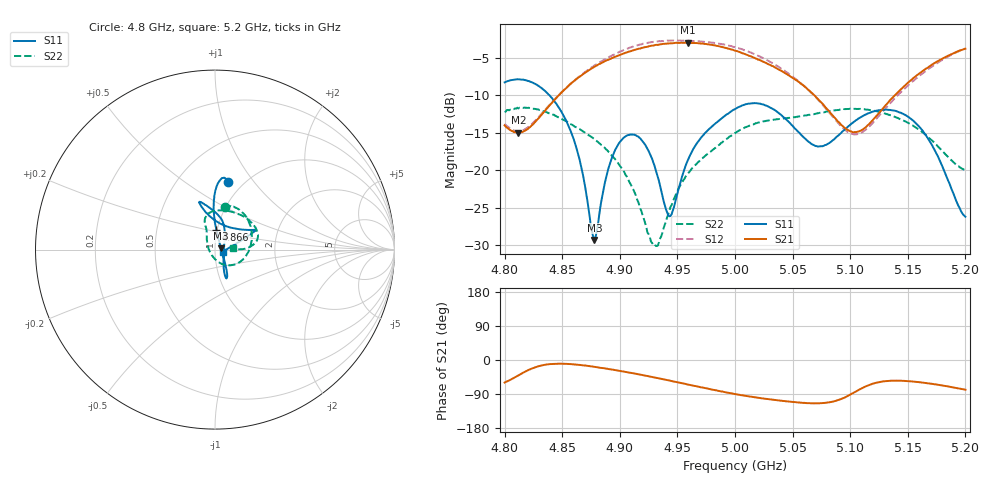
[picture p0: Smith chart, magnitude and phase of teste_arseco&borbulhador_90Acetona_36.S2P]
! Network Analyzer HP8722D
! Hewlett-Packard
! Data name: Linha & Wilkinson
! Saver's name: Rodrigo Anjos
! Comments: Teste da utilização de aquisição
! continua pelo VNA HP8722D
! Time and date: 17/4/2025 11:21
!  Frequency  S11  S21  S12  S22
# HZ  S  MA R 50
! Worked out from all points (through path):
!   401 points, 4.8 GHz to 5.2 GHz, reference 50 ohm
!   highest |S21| = -3.01 dB at 4.959 GHz (marker M1); lowest = -15.0 dB at 4.812 GHz (marker M2)
!   lowest |S11| = -29.3 dB at 4.878 GHz (marker M3), VSWR 1.07, Z = 53.5 + j0.792 ohm
!   |S11| at or under -10 dB: 4.839 GHz to end of sweep
!   |S22| runs from -30.1 to -11.7 dB; largest |S21 - S12| = 1.4
!   S11 on the Smith chart (normalised r, x): 4.8 GHz: 0.85, +0.75; 4.866 GHz: 0.99, +0.22; 5.2 GHz: 1.10, -0.03
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4.8e9  0.3849 79.1  0.1993 -59.6  0.2038 75.6  0.2438 77.2
4.812e9  0.4036 82.8  0.1777 -40.7  0.1822 92.8  0.258 67.1
4.844e9  0.2826 91.0  0.2983 -10.0  0.2996 122.9  0.2305 28.5
4.857e9  0.1853 91.4  0.3746 -10.6  0.375 124.0  0.2034 9.6
4.866e9  0.1097 86.0  0.4244 -13.4  0.4278 123.1  0.186 -4.0
4.867e9  0.1011 84.4  0.4304 -13.7  0.4337 123.0  0.1841 -5.6
4.878e9  0.03432 12.4  0.4895 -17.9  0.4992 120.8  0.1607 -22.4
4.891e9  0.1079 -56.7  0.5487 -24.3  0.5705 116.4  0.1311 -40.9
4.904e9  0.1661 -66.1  0.6021 -30.7  0.6341 111.0  0.09686 -59.6
4.92e9  0.1552 -69.0  0.6537 -39.9  0.6962 102.3  0.04954 -94.1
4.928e9  0.1194 -65.6  0.676 -44.7  0.7147 97.4  0.03283 -134.8
4.934e9  0.08478 -56.1  0.686 -48.6  0.725 93.5  0.03314 -178.7
4.944e9  0.04955 2.8  0.702 -54.8  0.7305 87.1  0.05694 140.1
4.959e9  0.1164 62.3  0.7075 -64.4  0.7299 77.5  0.09494 118.8
4.973e9  0.1731 78.1  0.6953 -73.5  0.7175 68.6  0.1225 113.0
5e9  0.2556 102.4  0.6267 -89.9  0.6617 51.1  0.1769 109.0
5.029e9  0.2653 108.2  0.508 -103.2  0.5352 35.4  0.2148 92.3
5.067e9  0.1487 79.9  0.3257 -114.3  0.3251 26.5  0.2357 58.7
5.103e9  0.2098 31.6  0.179 -86.5  0.1736 57.5  0.2566 26.8
5.134e9  0.2524 25.6  0.2889 -55.0  0.2753 91.1  0.2337 11.0
5.165e9  0.1737 20.9  0.4699 -60.5  0.4539 87.5  0.1738 2.2
5.2e9  0.04904 -16.9  0.6453 -78.4  0.6472 70.8  0.09976 4.8
